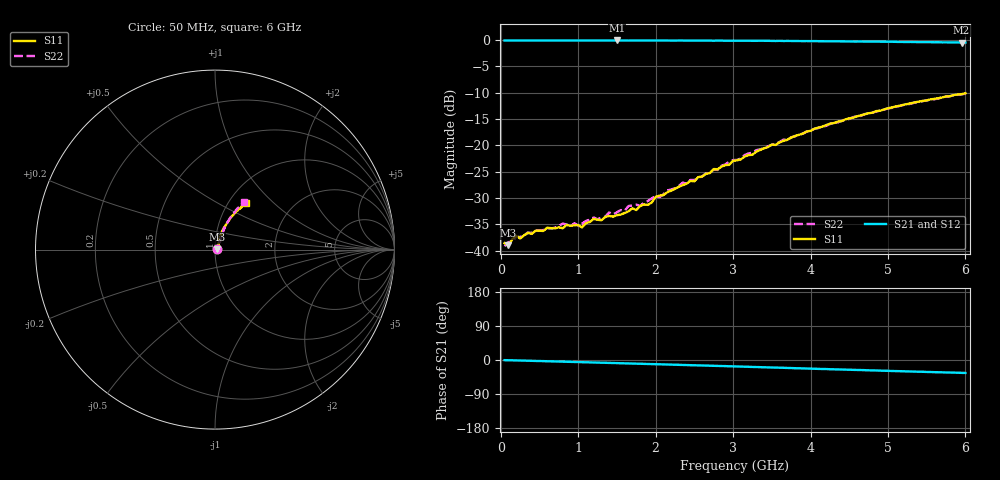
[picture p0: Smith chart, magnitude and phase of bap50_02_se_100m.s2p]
! Created by janssen on Wed Jul 24 13:34:13 METDST 2002
# HZ S MA R 50
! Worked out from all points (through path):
!   120 points, 50 MHz to 6 GHz, reference 50 ohm
!   highest |S21| = -0.09 dB at 1.5 GHz (marker M1); lowest = -0.5 dB at 5.95 GHz (marker M2)
!   group delay of S21, straight-line fit = 16 ps
!   lowest |S11| = -39.0 dB at 100 MHz (marker M3), VSWR 1.02, Z = 51.1 + j0.173 ohm
!   |S11| at or under -10 dB: start of sweep to end of sweep
!   |S22| runs from -39.1 to -10.2 dB; largest |S21 - S12| = 0.0087
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5e7  0.01182 3.6  0.9897 -0.4  0.9881 -0.5  0.01105 5.2
1e8  0.01126 8.7  0.9889 -0.6  0.9883 -0.6  0.01209 5.3
2e8  0.01387 13.2  0.9891 -1.1  0.9885 -1.1  0.01353 14.0
2.5e8  0.01305 11.7  0.9889 -1.4  0.989 -1.4  0.01353 12.3
3.5e8  0.01478 12.9  0.9892 -1.9  0.9889 -2.0  0.01492 15.1
6e8  0.01653 17.0  0.9896 -3.3  0.9888 -3.3  0.01633 16.3
8e8  0.01635 20.1  0.9891 -4.4  0.9888 -4.4  0.0181 17.9
8.5e8  0.01756 18.6  0.9894 -4.6  0.9892 -4.7  0.01777 15.0
1.05e9  0.01664 27.9  0.9896 -5.7  0.9891 -5.7  0.01808 24.1
1.2e9  0.02004 26.0  0.9899 -6.6  0.9882 -6.6  0.02069 26.6
1.25e9  0.01968 27.2  0.9893 -6.8  0.9886 -6.9  0.01987 28.2
1.4e9  0.02139 35.6  0.9893 -7.7  0.9885 -7.7  0.02308 31.7
1.5e9  0.02174 36.3  0.9902 -8.2  0.9883 -8.2  0.02318 35.4
1.9e9  0.02724 50.1  0.9891 -10.5  0.9881 -10.5  0.0297 45.9
2.05e9  0.03335 52.8  0.9888 -11.3  0.9878 -11.4  0.03231 49.0
2.35e9  0.04196 60.9  0.9885 -13.0  0.9878 -13.0  0.04432 54.7
2.4e9  0.04326 60.6  0.9868 -13.4  0.9876 -13.3  0.04327 55.2
3.05e9  0.07214 65.3  0.9846 -17.1  0.9843 -17.0  0.07269 61.8
4.05e9  0.1438 66.9  0.9768 -23.1  0.9747 -22.9  0.1435 66.0
5.05e9  0.2289 61.9  0.9629 -29.0  0.9628 -28.7  0.2269 62.5
5.95e9  0.3062 55.8  0.9463 -33.9  0.9542 -33.7  0.3046 59.0
6e9  0.3124 55.9  0.9483 -34.2  0.9542 -34.1  0.3091 58.9
